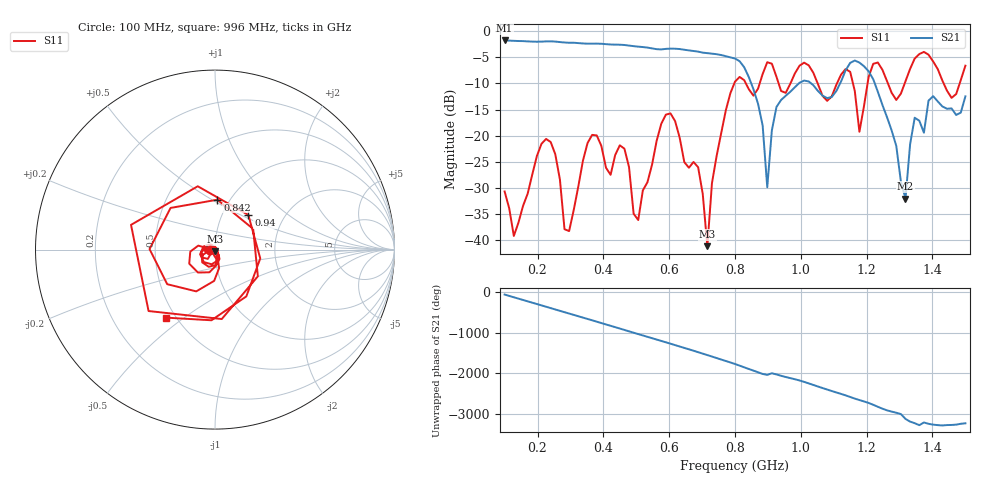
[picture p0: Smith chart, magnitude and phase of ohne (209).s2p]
! NanoVNA-App
! Date: 2025-09-25 14:22:25
! Start: 100MHz Stop: 1,5GHz Points: 101
! S-Parameter data: F S11 S21 S12 S22
# Hz S RI R 50
!  Frequency  S11_Real  S11_Imag  S21_Real  S21_Imag  S12_Real  S12_Imag  S22_Real  S22_Imag
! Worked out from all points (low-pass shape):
!   101 points, 100 MHz to 1.5 GHz, reference 50 ohm
!   highest |S21| = -1.79 dB at 100 MHz (marker M1); lowest = -32.0 dB at 1.318 GHz (marker M2)
!   |S21| within 3 dB of the highest: start of sweep to 771.6 MHz
!   lowest |S11| = -41.1 dB at 716 MHz (marker M3), VSWR 1.02, Z = 49.9 - j0.87 ohm
!   |S11| at or under -10 dB: start of sweep to 797.9 MHz; 833 MHz to 875 MHz (42.06 MHz wide, 4.92 % of centre); 1.051 GHz to 1.11 GHz (58.67 MHz wide, 5.43 % of centre) (the widest 3 of 7)
!   S12 and S22 are empty: the file has one direction only
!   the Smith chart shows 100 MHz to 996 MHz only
!   S11 on the Smith chart (normalised r, x): 100 MHz: 0.94, -0.01; 842 MHz: 0.88, +0.53; 940 MHz: 1.33, +0.55; 996 MHz: 0.44, -0.43
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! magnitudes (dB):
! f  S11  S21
! 100 MHz  -30.6  -1.8
! 128 MHz  -39.1  -1.9
! 226 MHz  -20.6  -2.0
! 296 MHz  -38.2  -2.2
! 338 MHz  -24.8  -2.4
! 464 MHz  -22.5  -2.7
! 506 MHz  -36.1  -3.0
! 576 MHz  -17.7  -3.5
! 688 MHz  -26.0  -3.9
! 716 MHz  -41.1  -4.2
! 800 MHz  -9.7  -5.2
! 842 MHz  -11.1  -8.8
! 898 MHz  -5.9  -29.9
! 940 MHz  -11.4  -13.2
! 996 MHz  -6.6  -9.9
! 1.038 GHz  -8.0  -10.3
! 1.178 GHz  -19.2  -6.0
! 1.22 GHz  -6.3  -9.2
! 1.276 GHz  -11.8  -19.0
! 1.318 GHz  -9.6  -32.0
! 1.346 GHz  -5.2  -16.6
! 1.5 GHz  -6.6  -12.5
